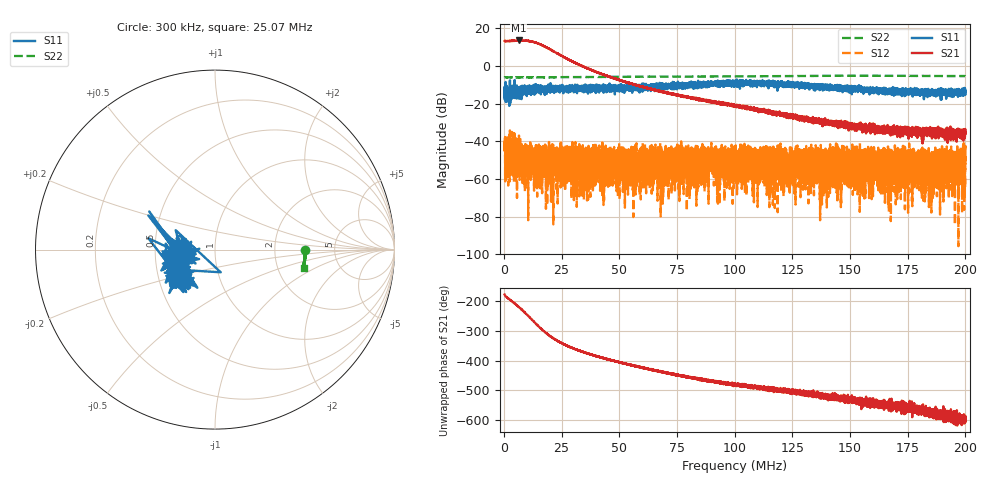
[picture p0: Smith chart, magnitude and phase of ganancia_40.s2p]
# Hz S DB R 50
! CMT, M5065, 19127446, 24.2.4/2
! Date: 11/8/2024 3:11:24 PM
! Data: Format (Calibration Info)
! Freq	S11:dB/Ang(F2)	S21:dB/Ang(F2)	S12:dB/Ang(F2)	S22:dB/Ang(F2)
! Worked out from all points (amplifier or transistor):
!   9000 points, 300 kHz to 200 MHz, reference 50 ohm
!   highest |S21| = 13.6 dB at 6.469 MHz (marker M1)
!   |S21| within 3 dB of that: start of sweep to 17.29 MHz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
!   unconditionally stable (mu >= 1): start of sweep to end of sweep
!   at 33.59 MHz: K = 842.36, MAG = 1.7 dB, |S12| = -67.8 dB
!   at 100.2 MHz: K = 918.16, MAG = -20.0 dB, |S12| = -47.1 dB
!   at 200 MHz: K = 11755.89, MAG = -34.1 dB, |S12| = -55.0 dB
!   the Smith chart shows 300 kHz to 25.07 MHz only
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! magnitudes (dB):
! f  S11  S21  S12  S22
! 300 kHz  -16.5  13.2  -41.1  -6.0
! 1.498 MHz  -13.7  13.2  -41.1  -6.0
! 6.469 MHz  -12.8  13.6  -44.8  -6.0
! 14.04 MHz  -11.4  12.3  -46.0  -6.0
! 17.17 MHz  -11.8  10.7  -50.3  -5.9
! 20.72 MHz  -12.7  8.3  -54.2  -6.0
! 28.06 MHz  -11.1  3.4  -54.7  -5.9
! 33.59 MHz  -12.1  0.2  -67.8  -5.9
! 66.87 MHz  -12.3  -13.1  -52.8  -5.7
! 68.85 MHz  -9.8  -13.6  -73.1  -5.6
! 85.45 MHz  -8.7  -17.8  -49.8  -5.6
! 87.91 MHz  -9.7  -18.9  -49.0  -5.6
! 89.98 MHz  -8.4  -18.7  -44.5  -5.6
! 92.73 MHz  -9.2  -19.8  -44.3  -5.6
! 94.7 MHz  -8.1  -19.9  -53.0  -5.6
! 100.2 MHz  -10.9  -21.8  -47.1  -5.5
! 133.4 MHz  -10.5  -29.9  -60.3  -5.3
! 140.7 MHz  -10.2  -30.0  -59.1  -5.2
! 143.6 MHz  -11.3  -30.8  -66.0  -5.2
! 145.4 MHz  -10.1  -31.5  -57.8  -5.2
! 166.7 MHz  -13.0  -33.7  -45.8  -5.2
! 200 MHz  -13.6  -35.8  -55.0  -5.4
